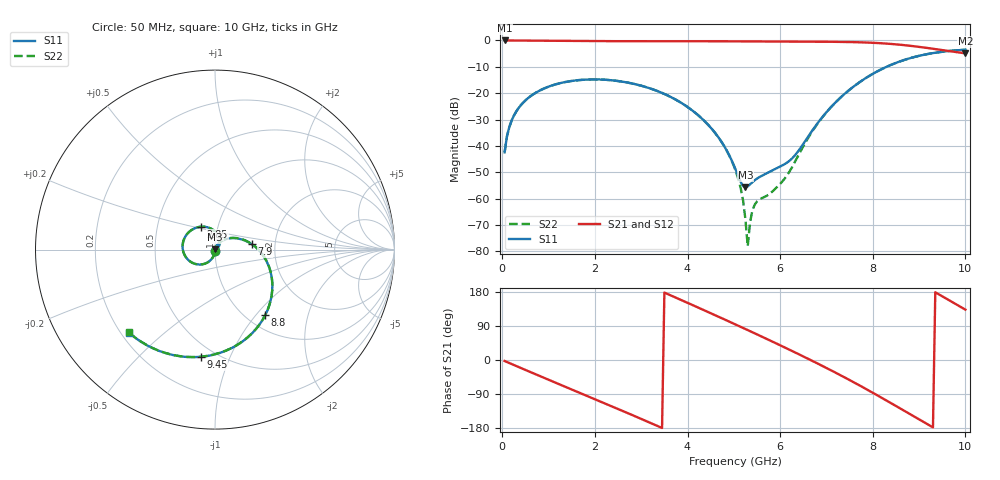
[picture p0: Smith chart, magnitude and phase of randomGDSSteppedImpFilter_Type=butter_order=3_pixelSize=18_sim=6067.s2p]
! freq	dB(S11)	phase(S11)	dB(S12)	phase(S12)
!  dB(S21)	phase(S21)	dB(S22)	phase(S22)
!S-par simulation data
#  GHz  S  DB  R 50
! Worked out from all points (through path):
!   200 points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, 50 MHz to 10 GHz, reference 50 ohm
!   highest |S21| = 0.00 dB at 50 MHz (marker M1); lowest = -4.9 dB at 10 GHz (marker M2)
!   group delay of S21, straight-line fit = 161 ps
!   lowest |S11| = -55.7 dB at 5.25 GHz (marker M3), VSWR 1.00, Z = 50.1 + j0.151 ohm
!   |S11| at or under -10 dB: start of sweep to 8.297 GHz
!   |S22| runs from -78.0 to -3.5 dB; largest |S21 - S12| = 0
!   S11 on the Smith chart (normalised r, x): 50 MHz: 1.00, -0.02; 2.85 GHz: 0.83, +0.22; 7.9 GHz: 1.51, +0.10; 8.8 GHz: 1.21, -1.12; 9.45 GHz: 0.42, -0.78; 10 GHz: 0.23, -0.39
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0.05  -42.43 -92.2  -0.00 -2.7  -0.00 -2.7  -42.43 -92.2
0.2  -30.43 -100.5  -0.02 -10.6  -0.02 -10.6  -30.43 -100.5
0.5  -22.71 -116.5  -0.05 -26.2  -0.05 -26.2  -22.71 -116.5
1.15  -16.65 -150.5  -0.16 -59.9  -0.16 -59.9  -16.65 -150.5
1.75  -14.90 178.5  -0.25 -90.6  -0.25 -90.6  -14.90 178.4
2.85  -16.49 121.6  -0.28 -147.5  -0.28 -147.5  -16.49 121.5
3.4  -19.53 92.5  -0.27 -176.7  -0.27 -176.7  -19.53 92.2
4.45  -32.07 36.6  -0.30 126.3  -0.30 126.3  -32.07 33.9
5.05  -49.44 22.5  -0.34 93.0  -0.34 93.0  -49.98 -5.7
5.15  -53.72 38.3  -0.35 87.4  -0.35 87.4  -56.20 -15.0
5.25  -55.69 67.0  -0.35 81.8  -0.35 81.8  -67.85 -33.1
5.3  -55.32 78.7  -0.35 79.0  -0.35 79.0  -77.99 -122.9
5.35  -54.55 85.5  -0.36 76.1  -0.36 76.1  -68.96 162.2
5.45  -53.00 88.2  -0.36 70.5  -0.36 70.5  -62.26 142.1
6.1  -46.85 47.4  -0.40 33.1  -0.40 33.1  -52.32 61.8
6.7  -33.99 68.0  -0.45 -2.6  -0.45 -2.6  -34.28 75.0
7.25  -22.54 47.1  -0.53 -36.8  -0.53 -36.8  -22.56 48.9
7.9  -13.71 8.5  -0.81 -79.6  -0.81 -79.6  -13.71 9.0
8.35  -9.58 -21.5  -1.26 -110.7  -1.26 -110.7  -9.58 -21.3
8.8  -6.74 -52.6  -2.01 -142.5  -2.01 -142.5  -6.74 -52.5
9.45  -4.40 -97.6  -3.52 171.7  -3.52 171.7  -4.40 -97.7
10  -3.52 -135.8  -4.89 132.9  -4.89 132.9  -3.53 -136.1
